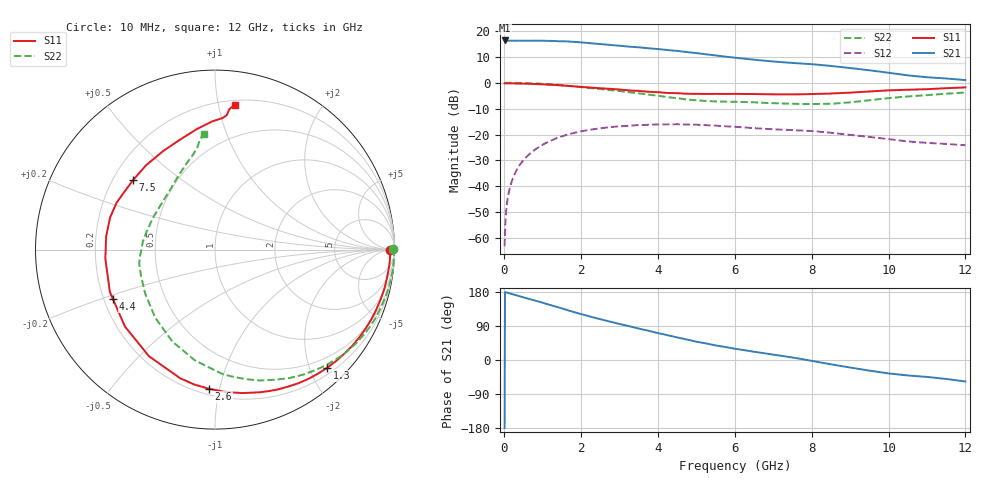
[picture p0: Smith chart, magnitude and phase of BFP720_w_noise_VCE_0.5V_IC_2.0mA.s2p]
! Infineon Technologies  Discrete & RF Semiconductors
! BFP720
! VCE =  0.5 V,  IC =  2.0 mA
! Common Emitter S-Parameters:  Aug 2012
# GHz  S  MA  R  50
!  f  S11  S21  S12  S22
! GHz  MAG  ANG  MAG  ANG  MAG  ANG  MAG  ANG
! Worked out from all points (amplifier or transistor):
!   105 points, 10 MHz to 12 GHz, reference 50 ohm
!   highest |S21| = 16.3 dB at 10 MHz (marker M1)
!   |S21| within 3 dB of that: start of sweep to 3.743 GHz
!   unconditionally stable (mu >= 1): start of sweep to 10.24 MHz; 8.369 GHz to end of sweep
!   at 300 MHz: K = 0.01, MSG = 25.3 dB, |S12| = -34.3 dB
!   at 3.6 GHz: K = 0.31, MSG = 14.9 dB, |S12| = -16.3 dB
!   at 12 GHz: K = 1.10, MAG = 10.7 dB, |S12| = -24.1 dB
!   lowest NFmin = 0.39 dB at 450 MHz
!   S11 on the Smith chart (normalised r, x): 10 MHz: 85, -6; 1.3 GHz: 0.31, -2.29; 2.6 GHz: 0.24, -0.93; 4.4 GHz: 0.24, -0.22; 7.5 GHz: 0.28, +0.34; 12 GHz: 0.23, +1.12
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0.01  0.9769 -0.1  6.569 -179.5  0.0007 10.9  0.992 0.2
0.02  0.9756 -0.7  6.419 179.2  0.0013 83.7  0.9988 -0.5
0.04  0.9757 -1.4  6.476 178.6  0.0027 89.4  0.9981 -1.2
0.08  0.9758 -2.7  6.499 177.5  0.0052 88.7  0.9979 -2.3
0.15  0.9752 -5.1  6.526 175.5  0.0096 86.5  0.9978 -4.3
0.3  0.9703 -10.2  6.503 171.1  0.0192 83.0  0.9941 -8.7
0.8  0.9474 -27.8  6.52 156.9  0.0511 70.5  0.9714 -23.6
1.3  0.9078 -46.5  6.406 142.0  0.0814 57.1  0.9237 -39.1
1.7  0.8655 -61.8  6.251 129.9  0.1023 46.4  0.8678 -51.4
2.1  0.8217 -76.0  5.935 118.4  0.119 36.1  0.8099 -62.9
2.6  0.7763 -92.5  5.517 105.1  0.1351 24.5  0.7428 -76.4
3  0.7424 -105.2  5.198 95.1  0.1447 16.0  0.6931 -86.8
3.5  0.6988 -121.8  4.846 82.9  0.1528 5.7  0.6273 -100.3
4.1  0.649 -143.0  4.406 68.9  0.1573 -5.9  0.5492 -117.9
4.4  0.6317 -154.3  4.188 61.9  0.158 -11.6  0.5134 -127.7
5  0.613 -175.3  3.749 48.3  0.1552 -22.3  0.4601 -147.7
6.1  0.6095 161.3  2.998 28.2  0.1396 -37.8  0.4277 -170.2
7.5  0.5985 139.7  2.422 6.5  0.122 -51.2  0.3941 165.5
8.5  0.6206 117.8  2.115 -11.4  0.1085 -62.9  0.3931 139.0
9.5  0.6797 98.5  1.745 -28.0  0.09 -70.0  0.4601 116.1
10.5  0.7341 86.7  1.391 -40.8  0.0738 -72.8  0.5447 102.8
12  0.8144 82.3  1.129 -56.7  0.0622 -73.1  0.6491 95.5
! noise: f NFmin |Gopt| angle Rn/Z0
0.45  0.39  0.68  5  0.26
1.8  0.53  0.62  29  0.21
2.4  0.62  0.52  76  0.19
5.5  0.87  0.39  86  0.14
10  1.32  0.47  -108  0.22
